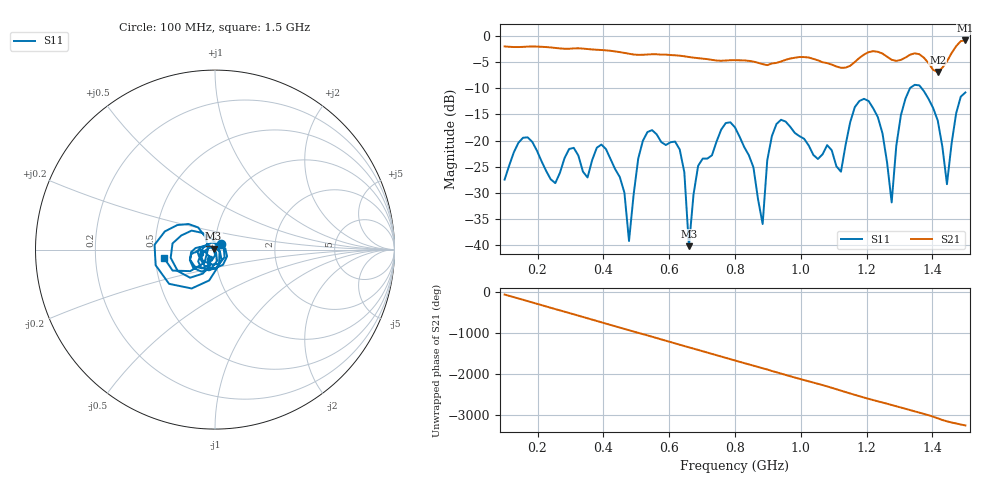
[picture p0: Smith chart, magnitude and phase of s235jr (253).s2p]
! NanoVNA-App
! Date: 2025-09-25 15:06:08
! Start: 100MHz Stop: 1,5GHz Points: 101
! S-Parameter data: F S11 S21 S12 S22
# Hz S RI R 50
!  Frequency  S11_Real  S11_Imag  S21_Real  S21_Imag  S12_Real  S12_Imag  S22_Real  S22_Imag
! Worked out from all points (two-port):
!   101 points, 100 MHz to 1.5 GHz, reference 50 ohm
!   highest |S21| = -0.82 dB at 1.5 GHz (marker M1); lowest = -6.9 dB at 1.416 GHz (marker M2)
!   |S21| within 3 dB of the highest: start of sweep to 642.4 MHz; 1.185 GHz to 1.259 GHz (73.89 MHz wide, 6.04 % of centre) (the widest 2 of 4)
!   lowest |S11| = -40.2 dB at 660 MHz (marker M3), VSWR 1.02, Z = 49.2 + j0.526 ohm
!   |S11| at or under -10 dB: start of sweep to 1.331 GHz; 1.367 GHz to end of sweep
!   S12 and S22 are empty: the file has one direction only
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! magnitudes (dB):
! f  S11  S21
! 100 MHz  -27.5  -2.0
! 156 MHz  -19.5  -2.1
! 338 MHz  -25.9  -2.4
! 408 MHz  -21.6  -2.7
! 478 MHz  -39.2  -3.4
! 520 MHz  -20.1  -3.6
! 576 MHz  -20.3  -3.5
! 632 MHz  -21.7  -3.7
! 660 MHz  -40.2  -4.0
! 688 MHz  -24.8  -4.2
! 800 MHz  -17.5  -4.6
! 884 MHz  -36.0  -5.4
! 898 MHz  -23.8  -5.5
! 926 MHz  -16.8  -5.1
! 1.038 GHz  -22.7  -4.4
! 1.122 GHz  -26.0  -6.1
! 1.206 GHz  -12.4  -3.1
! 1.276 GHz  -31.8  -4.5
! 1.332 GHz  -9.9  -3.6
! 1.416 GHz  -16.2  -6.9
! 1.444 GHz  -28.4  -4.9
! 1.5 GHz  -10.8  -0.8
